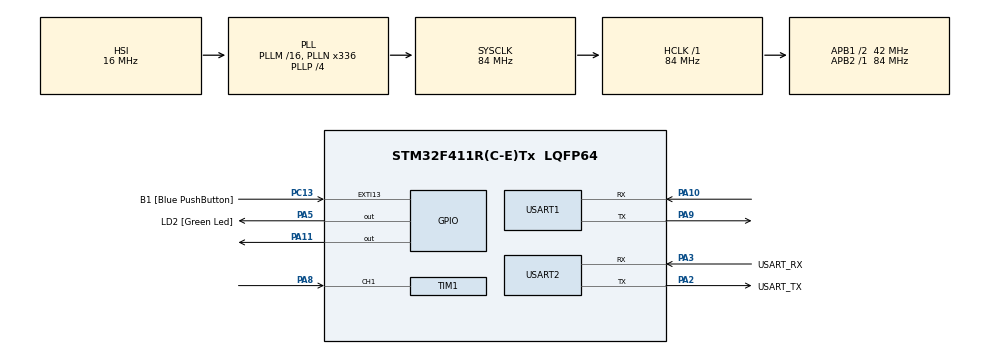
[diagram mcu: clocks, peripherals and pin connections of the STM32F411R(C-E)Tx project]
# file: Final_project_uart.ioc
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FREERTOS.Tasks01=defaultTask,0,128,StartDefaultTask,Default,NULL,Dynamic,NULL,NULL
Mcu.Family=STM32F4
Mcu.Name=STM32F411R(C-E)Tx
Mcu.Package=LQFP64
NVIC.PriorityGroup=NVIC_PRIORITYGROUP_4
NVIC.TIM1_CC_IRQn=true\:5\:0\:false\:false\:true\:true\:true\:true\:true
NVIC.USART1_IRQn=true\:0\:0\:true\:false\:true\:true\:true\:true\:true
PA10.Mode=Asynchronous
PA10.Signal=USART1_RX
PA11.Signal=GPIO_Output
PA13.GPIO_Label=TMS
PA13.Mode=Serial_Wire
PA13.Signal=SYS_JTMS-SWDIO
PA14.GPIO_Label=TCK
PA14.Mode=Serial_Wire
PA14.Signal=SYS_JTCK-SWCLK
PA2.GPIO_Label=USART_TX
PA2.Mode=Asynchronous
PA2.Signal=USART2_TX
PA3.GPIO_Label=USART_RX
PA3.Mode=Asynchronous
PA3.Signal=USART2_RX
PA5.GPIO_Label=LD2 [Green Led]
PA5.Signal=GPIO_Output
PA8.Signal=S_TIM1_CH1
PA9.GPIO_PuPd=GPIO_NOPULL
PA9.Mode=Asynchronous
PA9.Signal=USART1_TX
PB3.GPIO_Label=SWO
PB3.Signal=SYS_JTDO-SWO
PC13-ANTI_TAMP.GPIO_Label=B1 [Blue PushButton]
PC13-ANTI_TAMP.GPIO_ModeDefaultEXTI=GPIO_MODE_IT_FALLING
PC13-ANTI_TAMP.Signal=GPXTI13
PC14-OSC32_IN.Mode=LSE-External-Oscillator
PC14-OSC32_IN.Signal=RCC_OSC32_IN
PC15-OSC32_OUT.Mode=LSE-External-Oscillator
PC15-OSC32_OUT.Signal=RCC_OSC32_OUT
PH0\ -\ OSC_IN.Mode=HSE-External-Clock-Source
PH0\ -\ OSC_IN.Signal=RCC_OSC_IN
PH1\ -\ OSC_OUT.Mode=HSE-External-Clock-Source
PH1\ -\ OSC_OUT.Signal=RCC_OSC_OUT
ProjectManager.HeapSize=0x200
ProjectManager.StackSize=0x400
ProjectManager.TargetToolchain=STM32CubeIDE
RCC.48MHZClocksFreq_Value=84000000
RCC.AHBFreq_Value=84000000
RCC.APB1CLKDivider=RCC_HCLK_DIV2
RCC.APB1Freq_Value=42000000
RCC.APB1TimFreq_Value=84000000
RCC.APB2Freq_Value=84000000
RCC.APB2TimFreq_Value=84000000
RCC.CortexFreq_Value=84000000
RCC.FLatency-AdvancedSettings=FLASH_LATENCY_2
RCC.HCLKFreq_Value=84000000
RCC.HSE_VALUE=8000000
RCC.HSI_VALUE=16000000
RCC.PLLN=336
RCC.PLLP=RCC_PLLP_DIV4
RCC.SYSCLKFreq_VALUE=84000000
RCC.SYSCLKSource=RCC_SYSCLKSOURCE_PLLCLK
RCC.VCOOutputFreq_Value=336000000
SH.S_TIM1_CH1.0=TIM1_CH1,Input_Capture1_from_TI1
TIM1.Channel-Input_Capture1_from_TI1=TIM_CHANNEL_1
TIM1.Period=0xffff-1
TIM1.Prescaler=83
USART1.VirtualMode=VM_ASYNC
USART2.VirtualMode=VM_ASYNC
VP_FREERTOS_VS_CMSIS_V1.Mode=CMSIS_V1
board=NUCLEO-F411RE

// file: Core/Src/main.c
/* USER CODE BEGIN Header */
/**
  ******************************************************************************
  * @file           : main.c
  * @brief          : Main program body
  ******************************************************************************
  * @attention
  *
  * Copyright (c) 2022 STMicroelectronics.
  * All rights reserved.
  *
  * This software is licensed under terms that can be found in the LICENSE file
  * in the root directory of this software component.
  * If no LICENSE file comes with this software, it is provided AS-IS.
  *
  ******************************************************************************
  */
/* USER CODE END Header */
#include "main.h"
#include "cmsis_os.h"

TIM_HandleTypeDef htim1;

UART_HandleTypeDef huart1;
UART_HandleTypeDef huart2;

osThreadId defaultTaskHandle;

void SystemClock_Config(void);
static void MX_GPIO_Init(void);
static void MX_USART2_UART_Init(void);
static void MX_USART1_UART_Init(void);
static void MX_TIM1_Init(void);
void StartDefaultTask(void const * argument);

/* USER CODE BEGIN 0 */
// UART
char buffer[200];
char Rx_data[11] = { 0 };
void HAL_UART_RxCpltCallback(UART_HandleTypeDef *huart)
{
	HAL_UART_Transmit(&huart2, buffer, sizeof(buffer), 1000);
	HAL_UART_Transmit(&huart1, buffer, sizeof(buffer), 1000);
	HAL_UART_Receive_IT(&huart1, (uint8_t*) Rx_data, 11);
}

// Ultrasonic's parameters
uint32_t IC_Val1 = 0;
uint32_t IC_Val2 = 0;
uint32_t Difference = 0;
uint8_t Is_First_Captured = 0;  // is the first value captured ?
uint8_t Distance  = 0;

#define TRIG_PIN GPIO_PIN_11
#define TRIG_PORT GPIOA

void delay(uint16_t time){
	__HAL_TIM_SET_COUNTER(&htim1, 0);
	while(__HAL_TIM_GET_COUNTER(&htim1) < time){

	}
}

void HAL_TIM_IC_CaptureCallback(TIM_HandleTypeDef *htim)
{
	if (htim->Channel == HAL_TIM_ACTIVE_CHANNEL_1)  // if the interrupt source is channel1
	{
		if (Is_First_Captured==0) // if the first value is not captured
		{
			IC_Val1 = HAL_TIM_ReadCapturedValue(htim, TIM_CHANNEL_1); // read the first value
			Is_First_Captured = 1;  // set the first captured as true
			// Now change the polarity to falling edge
			__HAL_TIM_SET_CAPTUREPOLARITY(htim, TIM_CHANNEL_1, TIM_INPUTCHANNELPOLARITY_FALLING);
		}

		else if (Is_First_Captured==1)   // if the first is already captured
		{
			IC_Val2 = HAL_TIM_ReadCapturedValue(htim, TIM_CHANNEL_1);  // read second value
			__HAL_TIM_SET_COUNTER(htim, 0);  // reset the counter

			if (IC_Val2 > IC_Val1)
			{
				Difference = IC_Val2-IC_Val1;
			}

			else if (IC_Val1 > IC_Val2)
			{
				Difference = (0xffff - IC_Val1) + IC_Val2;
			}

			Distance = Difference * .034/2;
			Is_First_Captured = 0; // set it back to false

			  sprintf(buffer,"A%dBC",Distance);
//			  HAL_UART_Transmit(&huart2, buffer, sizeof(buffer), 1000);
			// set polarity to rising edge
			__HAL_TIM_SET_CAPTUREPOLARITY(htim, TIM_CHANNEL_1, TIM_INPUTCHANNELPOLARITY_RISING);
			__HAL_TIM_DISABLE_IT(&htim1, TIM_IT_CC1);
		}
	}
}

void HCSR04_Read (void)
{
	HAL_GPIO_WritePin(TRIG_PORT, TRIG_PIN, GPIO_PIN_SET);  // pull the TRIG pin HIGH
	delay(10);  // wait for 10 us
	HAL_GPIO_WritePin(TRIG_PORT, TRIG_PIN, GPIO_PIN_RESET);  // pull the TRIG pin low

	__HAL_TIM_ENABLE_IT(&htim1, TIM_IT_CC1);
}
/* USER CODE END 0 */

int main(void)
{

  /* MCU Configuration--------------------------------------------------------*/

  /* Reset of all peripherals, Initializes the Flash interface and the Systick. */
  HAL_Init();

  /* Configure the system clock */
  SystemClock_Config();

  /* Initialize all configured peripherals */
  MX_GPIO_Init();
  MX_USART2_UART_Init();
  MX_USART1_UART_Init();
  MX_TIM1_Init();
  /* USER CODE BEGIN 2 */
  HAL_TIM_IC_Start_IT(&htim1, TIM_CHANNEL_1);
  HAL_UART_Receive_IT(&huart1, (uint8_t*) Rx_data, 11); // Nhận Data
  /* USER CODE END 2 */

  /* Create the thread(s) */
  /* definition and creation of defaultTask */
  osThreadDef(defaultTask, StartDefaultTask, osPriorityNormal, 0, 128);
  defaultTaskHandle = osThreadCreate(osThread(defaultTask), NULL);

  /* Start scheduler */
  osKernelStart();

  /* We should never get here as control is now taken by the scheduler */
  /* Infinite loop */
  while (1)
  {

  }
}

void SystemClock_Config(void)
{
  RCC_OscInitTypeDef RCC_OscInitStruct = {0};
  RCC_ClkInitTypeDef RCC_ClkInitStruct = {0};

  /** Configure the main internal regulator output voltage
  */
  __HAL_RCC_PWR_CLK_ENABLE();
  __HAL_PWR_VOLTAGESCALING_CONFIG(PWR_REGULATOR_VOLTAGE_SCALE1);
  /** Initializes the RCC Oscillators according to the specified parameters
  * in the RCC_OscInitTypeDef structure.
  */
  RCC_OscInitStruct.OscillatorType = RCC_OSCILLATORTYPE_HSI;
  RCC_OscInitStruct.HSIState = RCC_HSI_ON;
  RCC_OscInitStruct.HSICalibrationValue = RCC_HSICALIBRATION_DEFAULT;
  RCC_OscInitStruct.PLL.PLLState = RCC_PLL_ON;
  RCC_OscInitStruct.PLL.PLLSource = RCC_PLLSOURCE_HSI;
  RCC_OscInitStruct.PLL.PLLM = 16;
  RCC_OscInitStruct.PLL.PLLN = 336;
  RCC_OscInitStruct.PLL.PLLP = RCC_PLLP_DIV4;
  RCC_OscInitStruct.PLL.PLLQ = 4;
  if (HAL_RCC_OscConfig(&RCC_OscInitStruct) != HAL_OK)
  {
    Error_Handler();
  }
  /** Initializes the CPU, AHB and APB buses clocks
  */
  RCC_ClkInitStruct.ClockType = RCC_CLOCKTYPE_HCLK|RCC_CLOCKTYPE_SYSCLK
                              |RCC_CLOCKTYPE_PCLK1|RCC_CLOCKTYPE_PCLK2;
  RCC_ClkInitStruct.SYSCLKSource = RCC_SYSCLKSOURCE_PLLCLK;
  RCC_ClkInitStruct.AHBCLKDivider = RCC_SYSCLK_DIV1;
  RCC_ClkInitStruct.APB1CLKDivider = RCC_HCLK_DIV2;
  RCC_ClkInitStruct.APB2CLKDivider = RCC_HCLK_DIV1;

  if (HAL_RCC_ClockConfig(&RCC_ClkInitStruct, FLASH_LATENCY_2) != HAL_OK)
  {
    Error_Handler();
  }
}

static void MX_TIM1_Init(void)
{

  TIM_MasterConfigTypeDef sMasterConfig = {0};
  TIM_IC_InitTypeDef sConfigIC = {0};

  htim1.Instance = TIM1;
  htim1.Init.Prescaler = 83;
  htim1.Init.CounterMode = TIM_COUNTERMODE_UP;
  htim1.Init.Period = 0xffff-1;
  htim1.Init.ClockDivision = TIM_CLOCKDIVISION_DIV1;
  htim1.Init.RepetitionCounter = 0;
  htim1.Init.AutoReloadPreload = TIM_AUTORELOAD_PRELOAD_DISABLE;
  if (HAL_TIM_IC_Init(&htim1) != HAL_OK)
  {
    Error_Handler();
  }
  sMasterConfig.MasterOutputTrigger = TIM_TRGO_RESET;
  sMasterConfig.MasterSlaveMode = TIM_MASTERSLAVEMODE_DISABLE;
  if (HAL_TIMEx_MasterConfigSynchronization(&htim1, &sMasterConfig) != HAL_OK)
  {
    Error_Handler();
  }
  sConfigIC.ICPolarity = TIM_INPUTCHANNELPOLARITY_RISING;
  sConfigIC.ICSelection = TIM_ICSELECTION_DIRECTTI;
  sConfigIC.ICPrescaler = TIM_ICPSC_DIV1;
  sConfigIC.ICFilter = 0;
  if (HAL_TIM_IC_ConfigChannel(&htim1, &sConfigIC, TIM_CHANNEL_1) != HAL_OK)
  {
    Error_Handler();
  }

}

static void MX_USART1_UART_Init(void)
{

  huart1.Instance = USART1;
  huart1.Init.BaudRate = 115200;
  huart1.Init.WordLength = UART_WORDLENGTH_8B;
  huart1.Init.StopBits = UART_STOPBITS_1;
  huart1.Init.Parity = UART_PARITY_NONE;
  huart1.Init.Mode = UART_MODE_TX_RX;
  huart1.Init.HwFlowCtl = UART_HWCONTROL_NONE;
  huart1.Init.OverSampling = UART_OVERSAMPLING_16;
  if (HAL_UART_Init(&huart1) != HAL_OK)
  {
    Error_Handler();
  }

}

static void MX_USART2_UART_Init(void)
{

  huart2.Instance = USART2;
  huart2.Init.BaudRate = 115200;
  huart2.Init.WordLength = UART_WORDLENGTH_8B;
  huart2.Init.StopBits = UART_STOPBITS_1;
  huart2.Init.Parity = UART_PARITY_NONE;
  huart2.Init.Mode = UART_MODE_TX_RX;
  huart2.Init.HwFlowCtl = UART_HWCONTROL_NONE;
  huart2.Init.OverSampling = UART_OVERSAMPLING_16;
  if (HAL_UART_Init(&huart2) != HAL_OK)
  {
    Error_Handler();
  }

}

static void MX_GPIO_Init(void)
{
  GPIO_InitTypeDef GPIO_InitStruct = {0};

  /* GPIO Ports Clock Enable */
  __HAL_RCC_GPIOC_CLK_ENABLE();
  __HAL_RCC_GPIOH_CLK_ENABLE();
  __HAL_RCC_GPIOA_CLK_ENABLE();
  __HAL_RCC_GPIOB_CLK_ENABLE();

  /*Configure GPIO pin Output Level */
  HAL_GPIO_WritePin(GPIOA, LD2_Pin|GPIO_PIN_11, GPIO_PIN_RESET);

  /*Configure GPIO pin : B1_Pin */
  GPIO_InitStruct.Pin = B1_Pin;
  GPIO_InitStruct.Mode = GPIO_MODE_IT_FALLING;
  GPIO_InitStruct.Pull = GPIO_NOPULL;
  HAL_GPIO_Init(B1_GPIO_Port, &GPIO_InitStruct);

  /*Configure GPIO pins : LD2_Pin PA11 */
  GPIO_InitStruct.Pin = LD2_Pin|GPIO_PIN_11;
  GPIO_InitStruct.Mode = GPIO_MODE_OUTPUT_PP;
  GPIO_InitStruct.Pull = GPIO_NOPULL;
  GPIO_InitStruct.Speed = GPIO_SPEED_FREQ_LOW;
  HAL_GPIO_Init(GPIOA, &GPIO_InitStruct);

}

void StartDefaultTask(void const * argument)
{
  /* USER CODE BEGIN 5 */
  /* Infinite loop */
  for(;;)
  {
	HCSR04_Read();
    osDelay(200);
  }
  /* USER CODE END 5 */
}

void Error_Handler(void)
{
  __disable_irq();
  while (1)
  {
  }
}
